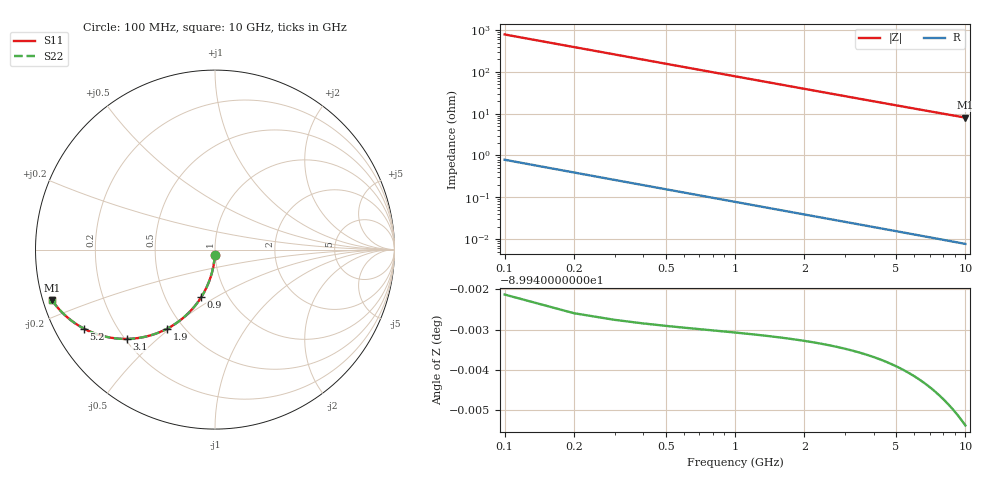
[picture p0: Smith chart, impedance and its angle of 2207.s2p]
# Hz S RI R 50.00
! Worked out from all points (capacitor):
!   100 points, 100 MHz to 10 GHz, reference 50 ohm
!   read as one part in shunt: C = 2.03 pF near 100 MHz
!   lowest |Z| = 8.06 ohm at 10 GHz (marker M1)
!   S11 on the Smith chart (normalised r, x): 100 MHz: 1.00, -0.06; 900 MHz: 0.75, -0.43; 1.9 GHz: 0.41, -0.49; 3.1 GHz: 0.21, -0.40; 5.2 GHz: 0.09, -0.28; 10 GHz: 0.03, -0.15
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1e8  -0.00104 -0.0318  0.9989 -0.032  0.9989 -0.032  -0.00104 -0.0318
2e8  -0.00411 -0.0635  0.9959 -0.0637  0.9959 -0.0637  -0.00411 -0.0635
3e8  -0.00917 -0.0947  0.9908 -0.0951  0.9908 -0.0951  -0.00917 -0.0947
4e8  -0.0162 -0.1254  0.9838 -0.1258  0.9838 -0.1258  -0.0162 -0.1254
5e8  -0.025 -0.1553  0.975 -0.1559  0.975 -0.1559  -0.025 -0.1553
6e8  -0.0355 -0.1843  0.9644 -0.185  0.9644 -0.185  -0.0355 -0.1843
7e8  -0.0477 -0.2122  0.9523 -0.2131  0.9523 -0.2131  -0.0477 -0.2122
9e8  -0.0764 -0.2646  0.9236 -0.2656  0.9236 -0.2656  -0.0764 -0.2646
1.1e9  -0.1098 -0.3115  0.8902 -0.3128  0.8902 -0.3128  -0.1098 -0.3115
1.3e9  -0.1468 -0.3527  0.8531 -0.3542  0.8531 -0.3542  -0.1468 -0.3527
1.5e9  -0.1863 -0.3879  0.8137 -0.3897  0.8137 -0.3897  -0.1863 -0.3879
1.8e9  -0.2476 -0.4301  0.7523 -0.4322  0.7523 -0.4322  -0.2476 -0.4301
1.9e9  -0.2682 -0.4414  0.7317 -0.4437  0.7317 -0.4437  -0.2682 -0.4414
2.5e9  -0.3876 -0.4852  0.6123 -0.4882  0.6123 -0.4882  -0.3876 -0.4852
3.1e9  -0.4926 -0.4976  0.5073 -0.5013  0.5073 -0.5013  -0.4926 -0.4976
3.4e9  -0.5385 -0.496  0.4615 -0.5001  0.4615 -0.5001  -0.5385 -0.496
4.2e9  -0.6397 -0.477  0.3603 -0.4821  0.3603 -0.4821  -0.6397 -0.477
5.1e9  -0.7231 -0.4439  0.2769 -0.4501  0.2769 -0.4501  -0.7231 -0.4439
5.2e9  -0.7307 -0.4399  0.2692 -0.4462  0.2692 -0.4462  -0.7307 -0.4399
6.7e9  -0.8179 -0.3813  0.1821 -0.3895  0.1821 -0.3895  -0.8179 -0.3813
8.4e9  -0.8757 -0.3242  0.1242 -0.3346  0.1242 -0.3346  -0.8757 -0.3242
1e10  -0.9089 -0.2809  0.091 -0.2934  0.091 -0.2934  -0.9089 -0.2809
